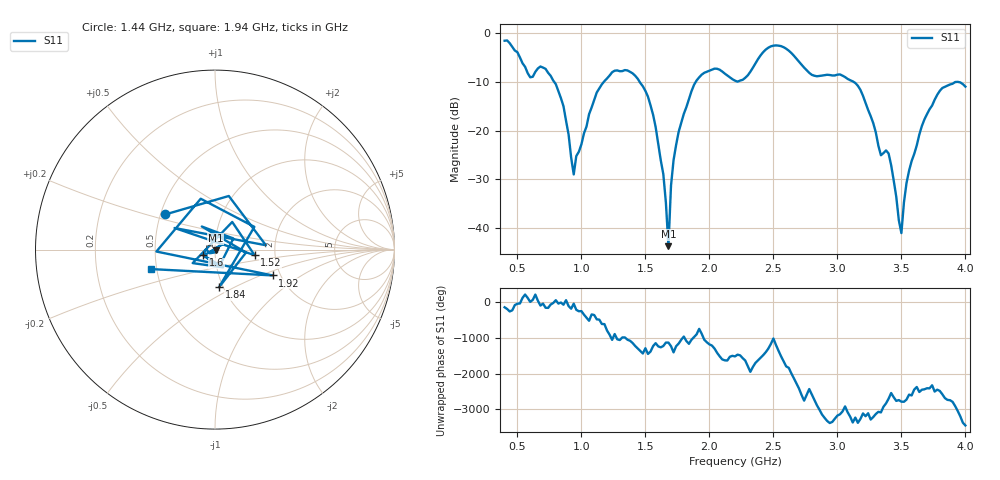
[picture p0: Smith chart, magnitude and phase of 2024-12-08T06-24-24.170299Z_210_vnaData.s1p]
!Created with skrf (http://scikit-rf.org).
# Hz S RI R 50.0
!freq ReS11 ImS11
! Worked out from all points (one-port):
!   181 points, 400 MHz to 4 GHz, reference 50 ohm
!   lowest |S11| = -43.7 dB at 1.68 GHz (marker M1), VSWR 1.01, Z = 50.4 - j0.5 ohm
!   |S11| at or under -10 dB: 787 MHz to 1.176 GHz (388.7 MHz wide, 39.6 % of centre); 1.455 GHz to 1.894 GHz (438.9 MHz wide, 26.2 % of centre); 3.126 GHz to end of sweep
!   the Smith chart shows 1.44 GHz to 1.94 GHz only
!   S11 on the Smith chart (normalised r, x): 1.44 GHz: 0.53, +0.23; 1.52 GHz: 1.56, -0.10; 1.6 GHz: 0.87, -0.05; 1.84 GHz: 0.96, -0.42; 1.92 GHz: 1.82, -0.60; 1.94 GHz: 0.46, -0.12
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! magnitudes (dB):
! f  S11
! 400 MHz  -1.6
! 600 MHz  -9.1
! 720 MHz  -7.3
! 860 MHz  -15.0
! 940 MHz  -29.0
! 1.12 GHz  -12.2
! 1.3 GHz  -7.8
! 1.44 GHz  -9.4
! 1.52 GHz  -13.0
! 1.6 GHz  -22.8
! 1.64 GHz  -28.9
! 1.68 GHz  -43.7
! 1.7 GHz  -31.3
! 1.76 GHz  -20.2
! 1.84 GHz  -13.5
! 1.92 GHz  -9.1
! 1.94 GHz  -8.5
! 2.2 GHz  -9.8
! 2.48 GHz  -2.7
! 2.66 GHz  -4.6
! 3.1 GHz  -9.7
! 3.2 GHz  -12.9
! 3.34 GHz  -25.1
! 3.4 GHz  -24.7
! 3.5 GHz  -41.0
! 3.56 GHz  -28.2
! 3.8 GHz  -11.9
! 4 GHz  -11.0
